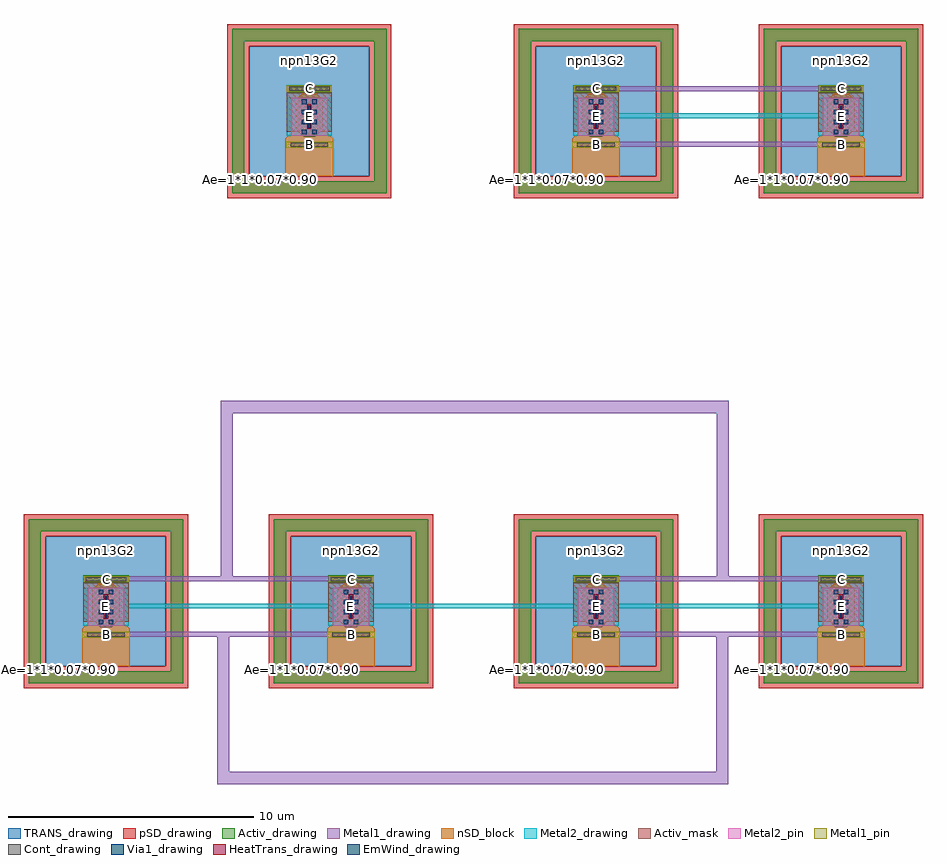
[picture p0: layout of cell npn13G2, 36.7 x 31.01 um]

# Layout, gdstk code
import gdstk
lib = gdstk.Library(unit=1e-6, precision=1e-09)
def R(c, l, rs):  # rectangles x0, y0, x1, y1
    for r in rs: c.add(gdstk.rectangle(r[:2], r[2:], *l))
def A(c, l, x, y, w, h, nx, ny, dx, dy):  # array of equal rectangles
    R(c, l, [(x+i*dx, y+j*dy, x+i*dx+w, y+j*dy+h) for i in range(nx) for j in range(ny)])
def P(c, l, *ps):  # polygons
    for p in ps: c.add(gdstk.Polygon(p, *l))
Activ_drawing = (1, 0)
Activ_mask = (1, 20)
Cont_drawing = (6, 0)
nSD_block = (7, 21)
Metal1_drawing = (8, 0)
Metal1_pin = (8, 2)
Metal2_drawing = (10, 0)
Metal2_pin = (10, 2)
pSD_drawing = (14, 0)
Via1_drawing = (19, 0)
TRANS_drawing = (26, 0)
EmWind_drawing = (33, 0)
HeatTrans_drawing = (51, 0)

npn13g2 = lib.new_cell('npn13G2')
A(npn13g2, Activ_drawing, -9.225, -19.02, 1.85, 0.3, 3, 1, 10, 0)
R(npn13g2, Activ_drawing, [(10.775,-19.02,12.625,-18.72), (20.775,-19.02,22.625,-18.72), (20.775,-19.02,22.625,-18.72), (-0.925,0.98,0.925,1.28), (10.775,0.98,12.625,1.28), (20.775,0.98,22.625,1.28)])
P(npn13g2, Activ_drawing, [(8.55,-23.13),(8.55,-16.42),(14.35,-16.42),(14.35,-16.92),(9.05,-16.92),(9.05,-22.63),(14.35,-22.63),(14.35,-16.42),(14.85,-16.42),(14.85,-23.13)],
  [(18.55,-23.13),(18.55,-16.42),(24.35,-16.42),(24.35,-16.92),(19.05,-16.92),(19.05,-22.63),(24.35,-22.63),(24.35,-16.42),(24.85,-16.42),(24.85,-23.13)],
  [(8.55,-23.13),(8.55,-16.42),(14.35,-16.42),(14.35,-16.92),(9.05,-16.92),(9.05,-22.63),(14.35,-22.63),(14.35,-16.42),(14.85,-16.42),(14.85,-23.13)],
  [(18.55,-23.13),(18.55,-16.42),(24.35,-16.42),(24.35,-16.92),(19.05,-16.92),(19.05,-22.63),(24.35,-22.63),(24.35,-16.42),(24.85,-16.42),(24.85,-23.13)],
  [(-11.45,-23.13),(-11.45,-16.42),(-5.65,-16.42),(-5.65,-16.92),(-10.95,-16.92),(-10.95,-22.63),(-5.65,-22.63),(-5.65,-16.42),(-5.15,-16.42),(-5.15,-23.13)],
  [(-1.45,-23.13),(-1.45,-16.42),(4.35,-16.42),(4.35,-16.92),(-0.95,-16.92),(-0.95,-22.63),(4.35,-22.63),(4.35,-16.42),(4.85,-16.42),(4.85,-23.13)],
  [(8.55,-3.13),(8.55,3.58),(14.35,3.58),(14.35,3.08),(9.05,3.08),(9.05,-2.63),(14.35,-2.63),(14.35,3.58),(14.85,3.58),(14.85,-3.13)],
  [(18.55,-3.13),(18.55,3.58),(24.35,3.58),(24.35,3.08),(19.05,3.08),(19.05,-2.63),(24.35,-2.63),(24.35,3.58),(24.85,3.58),(24.85,-3.13)],
  [(-3.15,-3.13),(-3.15,3.58),(2.65,3.58),(2.65,3.08),(-2.65,3.08),(-2.65,-2.63),(2.65,-2.63),(2.65,3.58),(3.15,3.58),(3.15,-3.13)])
P(npn13g2, Activ_mask, [(11.465,-20.83),(11.255,-20.62),(10.775,-20.62),(10.775,-19.02),(12.625,-19.02),(12.625,-20.62),(12.145,-20.62),(11.935,-20.83)],
  [(21.465,-20.83),(21.255,-20.62),(20.775,-20.62),(20.775,-19.02),(22.625,-19.02),(22.625,-20.62),(22.145,-20.62),(21.935,-20.83)],
  [(11.465,-20.83),(11.255,-20.62),(10.775,-20.62),(10.775,-19.02),(12.625,-19.02),(12.625,-20.62),(12.145,-20.62),(11.935,-20.83)],
  [(21.465,-20.83),(21.255,-20.62),(20.775,-20.62),(20.775,-19.02),(22.625,-19.02),(22.625,-20.62),(22.145,-20.62),(21.935,-20.83)],
  [(-8.535,-20.83),(-8.745,-20.62),(-9.225,-20.62),(-9.225,-19.02),(-7.375,-19.02),(-7.375,-20.62),(-7.855,-20.62),(-8.065,-20.83)],
  [(1.465,-20.83),(1.255,-20.62),(0.775,-20.62),(0.775,-19.02),(2.625,-19.02),(2.625,-20.62),(2.145,-20.62),(1.935,-20.83)],
  [(11.465,-0.83),(11.255,-0.62),(10.775,-0.62),(10.775,0.98),(12.625,0.98),(12.625,-0.62),(12.145,-0.62),(11.935,-0.83)],
  [(21.465,-0.83),(21.255,-0.62),(20.775,-0.62),(20.775,0.98),(22.625,0.98),(22.625,-0.62),(22.145,-0.62),(21.935,-0.83)],
  [(-0.235,-0.83),(-0.445,-0.62),(-0.925,-0.62),(-0.925,0.98),(0.925,0.98),(0.925,-0.62),(0.445,-0.62),(0.235,-0.83)])
A(npn13g2, Cont_drawing, -9.06, -21.22, 1.52, 0.16, 3, 1, 10, 0)
A(npn13g2, Cont_drawing, -9.125, -18.95, 1.65, 0.16, 3, 1, 10, 0)
R(npn13g2, Cont_drawing, [(10.94,-21.22,12.46,-21.06), (20.94,-21.22,22.46,-21.06), (20.94,-21.22,22.46,-21.06), (10.875,-18.95,12.525,-18.79), (20.875,-18.95,22.525,-18.79), (20.875,-18.95,22.525,-18.79), (-0.76,-1.22,0.76,-1.06), (10.94,-1.22,12.46,-1.06), (20.94,-1.22,22.46,-1.06), (-0.825,1.05,0.825,1.21), (10.875,1.05,12.525,1.21), (20.875,1.05,22.525,1.21)])
P(npn13g2, nSD_block, [(10.725,-22.43),(10.725,-20.9),(11.145,-20.48),(11.145,-19.31),(11.395,-19.06),(12.005,-19.06),(12.255,-19.31),(12.255,-20.48),(12.675,-20.9),(12.675,-22.43)],
  [(20.725,-22.43),(20.725,-20.9),(21.145,-20.48),(21.145,-19.31),(21.395,-19.06),(22.005,-19.06),(22.255,-19.31),(22.255,-20.48),(22.675,-20.9),(22.675,-22.43)],
  [(10.725,-22.43),(10.725,-20.9),(11.145,-20.48),(11.145,-19.31),(11.395,-19.06),(12.005,-19.06),(12.255,-19.31),(12.255,-20.48),(12.675,-20.9),(12.675,-22.43)],
  [(20.725,-22.43),(20.725,-20.9),(21.145,-20.48),(21.145,-19.31),(21.395,-19.06),(22.005,-19.06),(22.255,-19.31),(22.255,-20.48),(22.675,-20.9),(22.675,-22.43)],
  [(-9.275,-22.43),(-9.275,-20.9),(-8.855,-20.48),(-8.855,-19.31),(-8.605,-19.06),(-7.995,-19.06),(-7.745,-19.31),(-7.745,-20.48),(-7.325,-20.9),(-7.325,-22.43)],
  [(0.725,-22.43),(0.725,-20.9),(1.145,-20.48),(1.145,-19.31),(1.395,-19.06),(2.005,-19.06),(2.255,-19.31),(2.255,-20.48),(2.675,-20.9),(2.675,-22.43)],
  [(10.725,-2.43),(10.725,-0.9),(11.145,-0.48),(11.145,0.69),(11.395,0.94),(12.005,0.94),(12.255,0.69),(12.255,-0.48),(12.675,-0.9),(12.675,-2.43)],
  [(20.725,-2.43),(20.725,-0.9),(21.145,-0.48),(21.145,0.69),(21.395,0.94),(22.005,0.94),(22.255,0.69),(22.255,-0.48),(22.675,-0.9),(22.675,-2.43)],
  [(-0.975,-2.43),(-0.975,-0.9),(-0.555,-0.48),(-0.555,0.69),(-0.305,0.94),(0.305,0.94),(0.555,0.69),(0.555,-0.48),(0.975,-0.9),(0.975,-2.43)])
A(npn13g2, Metal1_drawing, -9.275, -21.26, 1.95, 0.24, 3, 1, 10, 0)
A(npn13g2, Metal1_drawing, -8.65, -20.785, 0.7, 1.555, 3, 1, 10, 0)
A(npn13g2, Metal1_drawing, -9.225, -18.99, 1.85, 0.24, 3, 1, 10, 0)
R(npn13g2, Metal1_drawing, [(10.725,-21.26,12.675,-21.02), (20.725,-21.26,22.675,-21.02), (20.725,-21.26,22.675,-21.02), (11.35,-20.785,12.05,-19.23), (21.35,-20.785,22.05,-19.23), (21.35,-20.785,22.05,-19.23), (10.775,-18.99,12.625,-18.75), (20.775,-18.99,22.625,-18.75), (20.775,-18.99,22.625,-18.75), (-0.975,-1.26,0.975,-1.02), (10.725,-1.26,12.675,-1.02), (20.725,-1.26,22.675,-1.02), (-0.35,-0.785,0.35,0.77), (11.35,-0.785,12.05,0.77), (21.35,-0.785,22.05,0.77), (-0.925,1.01,0.925,1.25), (10.775,1.01,12.625,1.25), (20.775,1.01,22.625,1.25)])
A(npn13g2, Metal1_pin, -9.265, -21.26, 1.94, 0.24, 3, 1, 10, 0)
A(npn13g2, Metal1_pin, -9.215, -18.99, 1.84, 0.24, 3, 1, 10, 0)
R(npn13g2, Metal1_pin, [(10.735,-21.26,12.675,-21.02), (20.735,-21.26,22.675,-21.02), (20.735,-21.26,22.675,-21.02), (10.785,-18.99,12.625,-18.75), (20.785,-18.99,22.625,-18.75), (20.785,-18.99,22.625,-18.75), (-0.965,-1.26,0.975,-1.02), (10.735,-1.26,12.675,-1.02), (20.735,-1.26,22.675,-1.02), (-0.915,1.01,0.925,1.25), (10.785,1.01,12.625,1.25), (20.785,1.01,22.625,1.25)])
A(npn13g2, Metal2_drawing, -9.225, -20.785, 1.85, 1.555, 3, 1, 10, 0)
R(npn13g2, Metal2_drawing, [(10.775,-20.785,12.625,-19.23), (20.775,-20.785,22.625,-19.23), (20.775,-20.785,22.625,-19.23), (-0.925,-0.785,0.925,0.77), (10.775,-0.785,12.625,0.77), (20.775,-0.785,22.625,0.77)])
A(npn13g2, Metal2_pin, -9.045, -20.78, 1.49, 1.55, 3, 1, 10, 0)
R(npn13g2, Metal2_pin, [(10.955,-20.78,12.445,-19.23), (20.955,-20.78,22.445,-19.23), (20.955,-20.78,22.445,-19.23), (-0.745,-0.78,0.745,0.77), (10.955,-0.78,12.445,0.77), (20.955,-0.78,22.445,0.77)])
P(npn13g2, pSD_drawing, [(8.35,-23.33),(8.35,-16.22),(14.15,-16.22),(14.15,-17.12),(9.25,-17.12),(9.25,-22.43),(14.15,-22.43),(14.15,-16.22),(15.05,-16.22),(15.05,-23.33)],
  [(18.35,-23.33),(18.35,-16.22),(24.15,-16.22),(24.15,-17.12),(19.25,-17.12),(19.25,-22.43),(24.15,-22.43),(24.15,-16.22),(25.05,-16.22),(25.05,-23.33)],
  [(8.35,-23.33),(8.35,-16.22),(14.15,-16.22),(14.15,-17.12),(9.25,-17.12),(9.25,-22.43),(14.15,-22.43),(14.15,-16.22),(15.05,-16.22),(15.05,-23.33)],
  [(18.35,-23.33),(18.35,-16.22),(24.15,-16.22),(24.15,-17.12),(19.25,-17.12),(19.25,-22.43),(24.15,-22.43),(24.15,-16.22),(25.05,-16.22),(25.05,-23.33)],
  [(-11.65,-23.33),(-11.65,-16.22),(-5.85,-16.22),(-5.85,-17.12),(-10.75,-17.12),(-10.75,-22.43),(-5.85,-22.43),(-5.85,-16.22),(-4.95,-16.22),(-4.95,-23.33)],
  [(-1.65,-23.33),(-1.65,-16.22),(4.15,-16.22),(4.15,-17.12),(-0.75,-17.12),(-0.75,-22.43),(4.15,-22.43),(4.15,-16.22),(5.05,-16.22),(5.05,-23.33)],
  [(8.35,-3.33),(8.35,3.78),(14.15,3.78),(14.15,2.88),(9.25,2.88),(9.25,-2.43),(14.15,-2.43),(14.15,3.78),(15.05,3.78),(15.05,-3.33)],
  [(18.35,-3.33),(18.35,3.78),(24.15,3.78),(24.15,2.88),(19.25,2.88),(19.25,-2.43),(24.15,-2.43),(24.15,3.78),(25.05,3.78),(25.05,-3.33)],
  [(-3.35,-3.33),(-3.35,3.78),(2.45,3.78),(2.45,2.88),(-2.45,2.88),(-2.45,-2.43),(2.45,-2.43),(2.45,3.78),(3.35,3.78),(3.35,-3.33)])
A(npn13g2, Via1_drawing, -8.6, -20.72, 0.19, 0.19, 1, 4, 0, 0.41)
A(npn13g2, Via1_drawing, -8.19, -20.72, 0.19, 0.19, 1, 4, 0, 0.41)
A(npn13g2, Via1_drawing, 1.4, -20.72, 0.19, 0.19, 1, 4, 0, 0.41)
A(npn13g2, Via1_drawing, 1.81, -20.72, 0.19, 0.19, 1, 4, 0, 0.41)
A(npn13g2, Via1_drawing, -0.3, -0.72, 0.19, 0.19, 1, 4, 0, 0.41)
A(npn13g2, Via1_drawing, 0.11, -0.72, 0.19, 0.19, 1, 4, 0, 0.41)
A(npn13g2, Via1_drawing, 11.4, -0.72, 0.19, 0.19, 1, 4, 0, 0.41)
A(npn13g2, Via1_drawing, 11.81, -0.72, 0.19, 0.19, 1, 4, 0, 0.41)
A(npn13g2, Via1_drawing, 21.4, -0.72, 0.19, 0.19, 1, 4, 0, 0.41)
A(npn13g2, Via1_drawing, 21.81, -0.72, 0.19, 0.19, 1, 4, 0, 0.41)
R(npn13g2, Via1_drawing, [(11.4,-20.72,11.59,-20.53), (11.4,-20.72,11.59,-20.53), (11.81,-20.72,12,-20.53), (11.81,-20.72,12,-20.53), (21.4,-20.72,21.59,-20.53), (21.4,-20.72,21.59,-20.53), (21.81,-20.72,22,-20.53), (21.81,-20.72,22,-20.53), (11.4,-20.31,11.59,-20.12), (11.4,-20.31,11.59,-20.12), (11.81,-20.31,12,-20.12), (11.81,-20.31,12,-20.12), (21.4,-20.31,21.59,-20.12), (21.4,-20.31,21.59,-20.12), (21.81,-20.31,22,-20.12), (21.81,-20.31,22,-20.12), (11.4,-19.9,11.59,-19.71), (11.4,-19.9,11.59,-19.71), (11.81,-19.9,12,-19.71), (11.81,-19.9,12,-19.71), (21.4,-19.9,21.59,-19.71), (21.4,-19.9,21.59,-19.71), (21.81,-19.9,22,-19.71), (21.81,-19.9,22,-19.71), (11.4,-19.49,11.59,-19.3), (11.4,-19.49,11.59,-19.3), (11.81,-19.49,12,-19.3), (11.81,-19.49,12,-19.3), (21.4,-19.49,21.59,-19.3), (21.4,-19.49,21.59,-19.3), (21.81,-19.49,22,-19.3), (21.81,-19.49,22,-19.3)])
A(npn13g2, TRANS_drawing, -10.75, -22.43, 4.9, 5.31, 3, 1, 10, 0)
R(npn13g2, TRANS_drawing, [(9.25,-22.43,14.15,-17.12), (19.25,-22.43,24.15,-17.12), (19.25,-22.43,24.15,-17.12), (-2.45,-2.43,2.45,2.88), (9.25,-2.43,14.15,2.88), (19.25,-2.43,24.15,2.88)])
R(npn13g2, EmWind_drawing, [(-8.335,-20.45,-8.265,-19.55), (-8.335,-20.45,-8.265,-19.55), (1.665,-20.45,1.735,-19.55), (1.665,-20.45,1.735,-19.55), (11.665,-20.45,11.735,-19.55), (11.665,-20.45,11.735,-19.55), (11.665,-20.45,11.735,-19.55), (11.665,-20.45,11.735,-19.55), (21.665,-20.45,21.735,-19.55), (21.665,-20.45,21.735,-19.55), (21.665,-20.45,21.735,-19.55), (21.665,-20.45,21.735,-19.55), (-0.035,-0.45,0.035,0.45), (-0.035,-0.45,0.035,0.45), (11.665,-0.45,11.735,0.45), (11.665,-0.45,11.735,0.45), (21.665,-0.45,21.735,0.45), (21.665,-0.45,21.735,0.45)])
A(npn13g2, HeatTrans_drawing, -8.385, -20.5, 0.17, 1, 3, 1, 10, 0)
R(npn13g2, HeatTrans_drawing, [(11.615,-20.5,11.785,-19.5), (21.615,-20.5,21.785,-19.5), (21.615,-20.5,21.785,-19.5), (-0.085,-0.5,0.085,0.5), (11.615,-0.5,11.785,0.5), (21.615,-0.5,21.785,0.5)])
npn13g2.add(gdstk.FlexPath([(11.615,-19.972),(21.81,-19.972)], 0.2, ends="flush", simple_path=True, layer=10, datatype=0))  # Metal2_drawing
npn13g2.add(gdstk.FlexPath([(11.615,-19.972),(21.81,-19.972)], 0.2, ends="flush", simple_path=True, layer=10, datatype=0))  # Metal2_drawing
npn13g2.add(gdstk.FlexPath([(-8.385,-19.972),(1.81,-19.972)], 0.2, ends="flush", simple_path=True, layer=10, datatype=0))  # Metal2_drawing
npn13g2.add(gdstk.FlexPath([(0.11,-19.97),(12.62,-19.97)], 0.2, ends="flush", simple_path=True, layer=10, datatype=0))  # Metal2_drawing
npn13g2.add(gdstk.FlexPath([(11.615,0.028),(21.81,0.028)], 0.2, ends="flush", simple_path=True, layer=10, datatype=0))  # Metal2_drawing
npn13g2.add(gdstk.FlexPath([(10.785,-18.855),(22.625,-18.855)], 0.2, ends="flush", simple_path=True, layer=8, datatype=0))  # Metal1_drawing
npn13g2.add(gdstk.FlexPath([(22.675,-21.13),(10.735,-21.13)], 0.2, ends="flush", simple_path=True, layer=8, datatype=0))  # Metal1_drawing
npn13g2.add(gdstk.FlexPath([(10.785,-18.855),(22.625,-18.855)], 0.2, ends="flush", simple_path=True, layer=8, datatype=0))  # Metal1_drawing
npn13g2.add(gdstk.FlexPath([(22.675,-21.13),(10.735,-21.13)], 0.2, ends="flush", simple_path=True, layer=8, datatype=0))  # Metal1_drawing
npn13g2.add(gdstk.FlexPath([(-9.215,-18.855),(2.625,-18.855)], 0.2, ends="flush", simple_path=True, layer=8, datatype=0))  # Metal1_drawing
npn13g2.add(gdstk.FlexPath([(2.675,-21.13),(-9.265,-21.13)], 0.2, ends="flush", simple_path=True, layer=8, datatype=0))  # Metal1_drawing
npn13g2.add(gdstk.FlexPath([(16.876,-18.955),(16.876,-11.851),(-3.369,-11.851),(-3.369,-18.955)], 0.5, ends="flush", simple_path=True, layer=8, datatype=0))  # Metal1_drawing
npn13g2.add(gdstk.FlexPath([(16.847,-21.03),(16.847,-26.984),(-3.515,-26.984),(-3.515,-21.03)], 0.5, ends="flush", simple_path=True, layer=8, datatype=0))  # Metal1_drawing
npn13g2.add(gdstk.FlexPath([(10.785,1.145),(22.625,1.145)], 0.2, ends="flush", simple_path=True, layer=8, datatype=0))  # Metal1_drawing
npn13g2.add(gdstk.FlexPath([(22.675,-1.13),(10.735,-1.13)], 0.2, ends="flush", simple_path=True, layer=8, datatype=0))  # Metal1_drawing
npn13g2.add(gdstk.Label('npn13G2', (11.715,-17.69), layer=63, texttype=0))
npn13g2.add(gdstk.Label('Ae=1*1*0.07*0.90', (9.723,-22.546), layer=63, texttype=0))
npn13g2.add(gdstk.Label('E', (11.7,-20.005), layer=63, texttype=0))
npn13g2.add(gdstk.Label('B', (11.705,-21.14), layer=63, texttype=0))
npn13g2.add(gdstk.Label('C', (11.705,-18.87), layer=63, texttype=0))
npn13g2.add(gdstk.Label('npn13G2', (21.715,-17.69), layer=63, texttype=0))
npn13g2.add(gdstk.Label('Ae=1*1*0.07*0.90', (19.723,-22.546), layer=63, texttype=0))
npn13g2.add(gdstk.Label('E', (21.7,-20.005), layer=63, texttype=0))
npn13g2.add(gdstk.Label('B', (21.705,-21.14), layer=63, texttype=0))
npn13g2.add(gdstk.Label('C', (21.705,-18.87), layer=63, texttype=0))
npn13g2.add(gdstk.Label('npn13G2', (11.715,-17.69), layer=63, texttype=0))
npn13g2.add(gdstk.Label('Ae=1*1*0.07*0.90', (9.723,-22.546), layer=63, texttype=0))
npn13g2.add(gdstk.Label('E', (11.7,-20.005), layer=63, texttype=0))
npn13g2.add(gdstk.Label('B', (11.705,-21.14), layer=63, texttype=0))
npn13g2.add(gdstk.Label('C', (11.705,-18.87), layer=63, texttype=0))
npn13g2.add(gdstk.Label('npn13G2', (21.715,-17.69), layer=63, texttype=0))
npn13g2.add(gdstk.Label('Ae=1*1*0.07*0.90', (19.723,-22.546), layer=63, texttype=0))
npn13g2.add(gdstk.Label('E', (21.7,-20.005), layer=63, texttype=0))
npn13g2.add(gdstk.Label('B', (21.705,-21.14), layer=63, texttype=0))
npn13g2.add(gdstk.Label('C', (21.705,-18.87), layer=63, texttype=0))
npn13g2.add(gdstk.Label('npn13G2', (-8.285,-17.69), layer=63, texttype=0))
npn13g2.add(gdstk.Label('Ae=1*1*0.07*0.90', (-10.277,-22.546), layer=63, texttype=0))
npn13g2.add(gdstk.Label('E', (-8.3,-20.005), layer=63, texttype=0))
npn13g2.add(gdstk.Label('B', (-8.295,-21.14), layer=63, texttype=0))
npn13g2.add(gdstk.Label('C', (-8.295,-18.87), layer=63, texttype=0))
npn13g2.add(gdstk.Label('npn13G2', (1.715,-17.69), layer=63, texttype=0))
npn13g2.add(gdstk.Label('Ae=1*1*0.07*0.90', (-0.277,-22.546), layer=63, texttype=0))
npn13g2.add(gdstk.Label('E', (1.7,-20.005), layer=63, texttype=0))
npn13g2.add(gdstk.Label('B', (1.705,-21.14), layer=63, texttype=0))
npn13g2.add(gdstk.Label('C', (1.705,-18.87), layer=63, texttype=0))
npn13g2.add(gdstk.Label('npn13G2', (11.715,2.31), layer=63, texttype=0))
npn13g2.add(gdstk.Label('Ae=1*1*0.07*0.90', (9.723,-2.546), layer=63, texttype=0))
npn13g2.add(gdstk.Label('E', (11.7,-0.005), layer=63, texttype=0))
npn13g2.add(gdstk.Label('B', (11.705,-1.14), layer=63, texttype=0))
npn13g2.add(gdstk.Label('C', (11.705,1.13), layer=63, texttype=0))
npn13g2.add(gdstk.Label('npn13G2', (21.715,2.31), layer=63, texttype=0))
npn13g2.add(gdstk.Label('Ae=1*1*0.07*0.90', (19.723,-2.546), layer=63, texttype=0))
npn13g2.add(gdstk.Label('E', (21.7,-0.005), layer=63, texttype=0))
npn13g2.add(gdstk.Label('B', (21.705,-1.14), layer=63, texttype=0))
npn13g2.add(gdstk.Label('C', (21.705,1.13), layer=63, texttype=0))
npn13g2.add(gdstk.Label('npn13G2', (0.015,2.31), layer=63, texttype=0))
npn13g2.add(gdstk.Label('Ae=1*1*0.07*0.90', (-1.977,-2.546), layer=63, texttype=0))
npn13g2.add(gdstk.Label('E', (0,-0.005), layer=63, texttype=0))
npn13g2.add(gdstk.Label('B', (0.005,-1.14), layer=63, texttype=0))
npn13g2.add(gdstk.Label('C', (0.005,1.13), layer=63, texttype=0))
npn13g2.add(gdstk.Label('npn13G2_base', (11.7,-20), layer=51, texttype=0))
npn13g2.add(gdstk.Label('npn13G2_base', (21.7,-20), layer=51, texttype=0))
npn13g2.add(gdstk.Label('npn13G2_base', (11.7,-20), layer=51, texttype=0))
npn13g2.add(gdstk.Label('npn13G2_base', (21.7,-20), layer=51, texttype=0))
npn13g2.add(gdstk.Label('npn13G2_base', (-8.3,-20), layer=51, texttype=0))
npn13g2.add(gdstk.Label('npn13G2_base', (1.7,-20), layer=51, texttype=0))
npn13g2.add(gdstk.Label('npn13G2_base', (11.7,0), layer=51, texttype=0))
npn13g2.add(gdstk.Label('npn13G2_base', (21.7,0), layer=51, texttype=0))
npn13g2.add(gdstk.Label('npn13G2_base', (0,0), layer=51, texttype=0))

lib.write_gds('npn13G2.gds')
